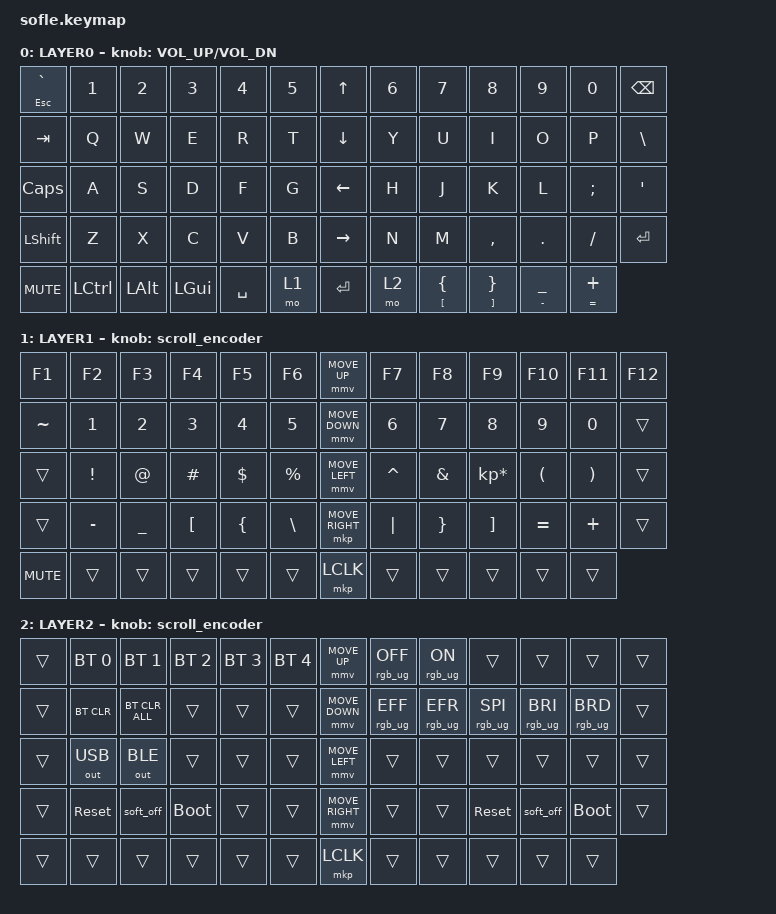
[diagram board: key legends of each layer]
#include <behaviors/mouse_keys.dtsi>
#include <behaviors.dtsi>
#include <dt-bindings/zmk/bt.h>
#include <dt-bindings/zmk/keys.h>
#include <dt-bindings/zmk/mouse.h>
#include <dt-bindings/zmk/outputs.h>
#include <dt-bindings/zmk/rgb.h>

#define ZMK_MOUSE_DEFAULT_MOVE_VAL 1200  // 600
#define ZMK_MOUSE_DEFAULT_SCRL_VAL 20    // 10
#define U_MS_U &mmv MOVE_UP
#define U_MS_D &mmv MOVE_DOWN
#define U_MS_L &mmv MOVE_LEFT
#define U_MS_R &mmv MOVE_RIGHT


/ {
    behaviors {
        mmv {
            acceleration-exponent = <1>;      // 1
            time-to-max-speed-ms = <900>;    // 40
            delay-ms = <0>;                   // 0
        };

        msc {
            acceleration-exponent = <1>;      // 0
            time-to-max-speed-ms = <400>;      // 500
            delay-ms = <0>;                   //   10
        };
    };

    scroll_encoder: scroll_encoder {
        compatible = "zmk,behavior-sensor-rotate";
        #sensor-binding-cells = <0>;
        bindings = <&msc SCRL_DOWN>, <&msc SCRL_UP>;

        tap-ms = <30>;
    };

    keymap {
        compatible = "zmk,keymap";
        
        layer_0 {
// -------------------------------------------------------------------------------------------------------------
// | ESC/` |  1  |  2  |  3   |  4   |  5   |                    |  6   |  7    |  8    |  9   |   0   | BKSPC |
// |  TAB  |  Q  |  W  |  E   |  R   |  T   |                    |  Y   |  U    |  I    |  O   |   P   |   \   |
// | CAPS  |  A  |  S  |  D   |  F   |  G   |                    |  H   |  J    |  K    |  L   |   ;   |   '   |
// | SHIFT |  Z  |  X  |  C   |  V   |  B   | MUTE   |  | PLAY   |  N   |  M    |  ,    |  .   |   /   | ENTER |
//               | CTRL| ALT  | GUI/-| SPACE| LAYER1 |  | LAYER2 |  [/{ |  ]/}  |  -/_  |  =/+ |

            bindings = <
&mt ESC GRAVE    &kp N1     &kp N2        &kp N3        &kp N4       &kp N5       &kp UP_ARROW     &kp N6     &kp N7             &kp N8           &kp N9           &kp N0      &kp BACKSPACE
&kp TAB          &kp Q      &kp W         &kp E         &kp R        &kp T        &kp DOWN_ARROW   &kp Y      &kp U              &kp I            &kp O            &kp P       &kp BSLH
&kp CAPS         &kp A      &kp S         &kp D         &kp F        &kp G        &kp LEFT_ARROW   &kp H      &kp J              &kp K            &kp L            &kp SEMI    &kp APOS
&kp LSHFT        &kp Z      &kp X         &kp C         &kp V        &kp B        &kp RIGHT_ARROW  &kp N      &kp M              &kp COMMA        &kp DOT          &kp FSLH    &kp ENTER
&kp C_MUTE       &kp LCTRL  &kp LEFT_ALT  &kp LEFT_GUI  &kp SPACE    &mo 1        &kp ENTER        &mo 2      &mt LBKT LBRC      &mt RBKT RBRC    &mt MINUS UNDER  &mt EQUAL PLUS 
            >;
                                        

            sensor-bindings = <&inc_dec_kp C_VOLUME_UP C_VOL_DN>;
            display-name = "LAYER0";
        };

        layer_1 {

// --------------------------------------------------------------------------------------------------------------
// |  F1 |  F2 |  F3  |  F4  |  F5  |  F6  |                    |  F7   |  F8   |  F9   |  F10  |  F11  |  F12  |
// |   ~ |   1 |   2  |   3  |   4  |   5  |                    |   6   |   7   |   8   |   9   |   0   |       |
// |     |  !  |   @  |   #  |   $  |  %   |                    |   ^   |   &   |   *   |   (   |   )   |       |
// |     |  -  |   _  |   [  |   {  |  \   |  MUTE  |  |  PLAY  |  |    |   }   |   ]   |   =   |   +   |       |
//             |      |      |      |      |        |  |        |       |       |       |       |
            bindings = <
&kp F1      &kp F2           &kp F3          &kp F4           &kp F5           &kp F6             &mmv MOVE_UP     &kp F7           &kp F8           &kp F9          &kp F10     &kp F11       &kp F12
&kp TILDE   &kp N1           &kp N2          &kp N3           &kp N4           &kp N5             &mmv MOVE_DOWN   &kp N6           &kp N7           &kp N8          &kp N9      &kp N0        &trans             
&trans      &kp EXCL         &kp AT          &kp HASH         &kp DLLR         &kp PRCNT          &mmv MOVE_LEFT   &kp CARET        &kp AMPS         &kp KP_MULTIPLY &kp LPAR    &kp RPAR      &trans
&trans      &kp MINUS        &kp UNDER       &kp LBKT         &kp LBRC         &kp BSLH           &mkp MOVE_RIGHT  &kp PIPE         &kp RBRC         &kp RBKT        &kp EQUAL   &kp PLUS      &trans
&kp C_MUTE  &trans           &trans          &trans           &trans           &trans             &mkp LCLK        &trans           &trans           &trans          &trans      &trans        
            >;

            display-name = "LAYER1";
            sensor-bindings = <&scroll_encoder>;
        };

        layer_2 {

// ------------------------------------------------------------------------------------------------------------------------------------------------------------------
// |     |     BT0    |      BT1      |     BT2      |   BT3   |  BT4  |                    |  RGB_OFF   |  RGB_ON   |             |            |            |      |
// |     |   BT_CLR   |   BT_CLR_ALL  |              |         |       |                    |  RGB_EFF   |  RGB_EFF  |  RGB_SPI    |  RGB_BRI   |  RGB_BRD   |      |
// |     |  OUT_USB   |    OUT_BLE    |    EP_OFF    |         |       |                    |            |           |             |            |            |      |
// |     |  sys_reset |   soft_off    |  bootloader  |         |       |                    |            |           |  sys_reset  |  soft_off  | bootloader |      |
//       |            |               |              |         |       |      |      |      |            |           |             |            |            |      |
            bindings = <
&trans     &bt BT_SEL 0  &bt BT_SEL 1    &bt BT_SEL 2       &bt BT_SEL 3      &bt BT_SEL 4    &mmv MOVE_UP     &rgb_ug RGB_OFF  &rgb_ug RGB_ON      &trans              &trans             &trans             &trans
&trans     &bt BT_CLR    &bt BT_CLR_ALL  &trans             &trans            &trans          &mmv MOVE_DOWN   &rgb_ug RGB_EFF  &rgb_ug RGB_EFR     &rgb_ug RGB_SPI     &rgb_ug RGB_BRI    &rgb_ug RGB_BRD    &trans
&trans     &out OUT_USB  &out OUT_BLE    &trans             &trans            &trans          &mmv MOVE_LEFT   &trans           &trans              &trans              &trans             &trans             &trans
&trans     &sys_reset    &soft_off       &bootloader        &trans            &trans          &mmv MOVE_RIGHT  &trans           &trans              &sys_reset          &soft_off          &bootloader        &trans
&trans     &trans        &trans          &trans             &trans            &trans          &mkp LCLK        &trans           &trans              &trans              &trans             &trans             
            >;
            display-name = "LAYER2";
            sensor-bindings = <&scroll_encoder>;
        };
    };
};
